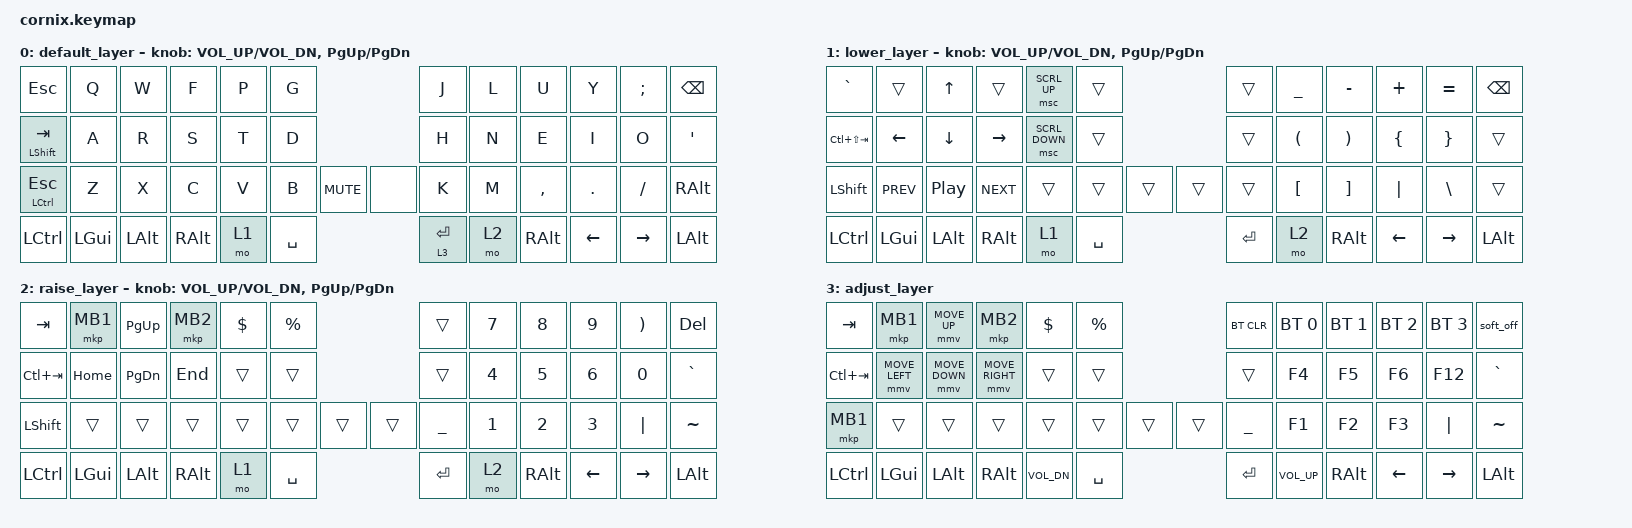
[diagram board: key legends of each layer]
/*
 * Copyright (c) 2020 The ZMK Contributors
 *
 * SPDX-License-Identifier: MIT
 */

#include "includes/cornix54.h"
#include <behaviors.dtsi>
#include <dt-bindings/zmk/bt.h>
#include <dt-bindings/zmk/keys.h>
#include <dt-bindings/zmk/pointing.h>


&mmv {
    acceleration-exponent = <1>;  // 1
    time-to-max-speed-ms = <500>; // 300
    delay-ms = <0>;
    trigger-period-ms = <8>;      // 16
};
&msc {
    acceleration-exponent = <1>;  // 0
    time-to-max-speed-ms = <40>;  // 300
    delay-ms = <0>;
    trigger-period-ms = <8>;      // 16
};

#define ZMK_POINTING_DEFAULT_MOVE_VAL 2500  // default: 600
#define ZMK_POINTING_DEFAULT_SCRL_VAL 50    // default: 10


/ {

    combos {
        compatible = "zmk,combos";
        homerow_rgui {
            timeout-ms = <50>;
            key-positions = <7 19>;
            bindings = <&kp LGUI>;
        };
        homerow_lgui {
            timeout-ms = <50>;
            key-positions = <4 16>;
            bindings = <&kp LGUI>;
        };

        homerow_rctrl {
            timeout-ms = <50>;
            key-positions = <8 20>;
            bindings = <&kp LCTRL>;
        };
        homerow_lctrl {
            timeout-ms = <50>;
            key-positions = <3 15>;
            bindings = <&kp LCTRL>;
        };

        homerow_ralt {
            timeout-ms = <50>;
            key-positions = <9 21>;
            bindings = <&kp LALT>;
        };
            timeout-ms = <50>;
            homerow_lalt {
            key-positions = <2 14>;
            bindings = <&kp LALT>;
        };

        homerow_rshft {
            timeout-ms = <50>;
            key-positions = <10 22>;
            bindings = <&kp LSHFT>;
        };
        homerow_lshft {
            timeout-ms = <50>;
            key-positions = <1 13>;
            bindings = <&kp LSHFT>;
        };

        homerow_esc {
            timeout-ms = <50>;
            key-positions = <0 12>;
            bindings = <&kp ESC>;
        };

        homerow_cut {
            timeout-ms = <50>;
            key-positions = <14 26>;
            bindings = <&kp LG(X)>;
        };

        homerow_copy {
            timeout-ms = <50>;
            key-positions = <15 27>;
            bindings = <&kp LG(C)>;
        };

        homerow_paste {
            timeout-ms = <50>;
            key-positions = <16 28>;
            bindings = <&kp LG(V)>;
        };
    };

    keymap {
        compatible = "zmk,keymap";

        default_layer {
            // ------------------------------------------------------------------------------------------------------------
            // |   `   |  1  |  2  |  3   |  4   |  5   |                   |  6   |  7    |  8    |  9   |   0   |       |
            // |  ESC  |  Q  |  W  |  E   |  R   |  T   |                   |  Y   |  U    |  I    |  O   |   P   | BKSPC |
            // |  TAB  |  A  |  S  |  D   |  F   |  G   |                   |  H   |  J    |  K    |  L   |   ;   |   '   |
            // | SHIFT |  Z  |  X  |  C   |  V   |  B   |  MUTE  |  |       |  N   |  M    |  ,    |  .   |   /   | SHIFT |
            //               | GUI | ALT  | CTRL | LOWER|  ENTER |  | SPACE | RAISE| CTRL  | ALT   | GUI  |

            bindings = <
            &kp ESC        &kp Q         &kp W       &kp F      &kp P    &kp G                 &kp J    &kp L     &kp U        &kp Y       &kp SEMI     &kp BSPC
            &mt LSHFT TAB  &kp A         &kp R       &kp S      &kp T    &kp D                 &kp H    &kp N     &kp E        &kp I       &kp O        &kp SQT
            &mt LCTRL ESC  &kp Z         &kp X       &kp C      &kp V    &kp B    &kp C_MUTE &none  &kp K    &kp M     &kp COMMA    &kp DOT     &kp FSLH     &kp RALT
            &kp LCTRL      &kp LGUI      &kp LALT    &kp RALT   &mo 1    &kp SPACE             &lt 3 RET &mo 2    &kp RALT     &kp LEFT    &kp RIGHT    &kp LALT
            >;
            sensor-bindings = <&inc_dec_kp C_VOL_UP C_VOL_DN &inc_dec_kp PG_UP PG_DN>;
        };

        lower_layer {
            // ------------------------------------------------------------------------------------------------------------
            // |   `   |  1  |  2  |  3   |  4   |  5   |                   |  6   |  7    |  8    |  9   |   0   |       |
            // |  ESC  |  Q  |  W  |  E   |  R   |  T   |                   |  Y   |  U    |  I    |  O   |   P   | BKSPC |
            // |  TAB  |  A  |  S  |  D   |  F   |  G   |                   |  H   |  J    |  K    |  L   |   ;   |   '   |
            // | SHIFT |  Z  |  X  |  C   |  V   |  B   |  MUTE  |  |       |  N   |  M    |  ,    |  .   |   /   | SHIFT |
            //               | GUI | ALT  | CTRL | LOWER|  ENTER |  | SPACE | RAISE| CTRL  | ALT   | GUI  |

            bindings = <
              &kp GRAVE        &trans       &kp UP           &trans      &msc SCRL_UP          &trans      &trans    &kp UNDER  &kp MINUS &kp PLUS  &kp EQUAL &kp BSPC
              &kp LC(LS(TAB))  &kp LEFT     &kp DOWN         &kp RIGHT   &msc SCRL_DOWN        &trans      &trans    &kp LPAR   &kp RPAR  &kp LBRC  &kp RBRC  &trans
              &kp LSHFT        &kp C_PREV   &kp C_PLAY_PAUSE &kp C_NEXT  &trans           &trans &trans              &trans      &trans    &kp LBKT   &kp RBKT  &kp PIPE  &kp BSLH  &trans
              &kp LCTRL        &kp LGUI     &kp LALT         &kp RALT    &mo 1  &kp SPACE      &kp RET     &mo 2     &kp RALT   &kp LEFT  &kp RIGHT &kp LALT
            >;
            sensor-bindings = <&inc_dec_kp C_VOL_UP C_VOL_DN &inc_dec_kp PG_UP PG_DN>;
        };

        raise_layer {

            // TODO: Some binds are waiting for shifted keycode support.
            // -------------------------------
            // |       |  F1 |  F2 |  F3  |  F4  |  F5  |                   |  F6  |  F7   |  F8   |  F9  |  F10  |  F11  |
            // |   `   |  1  |  2  |  3   |  4   |  5   |                   |  6   |  7    |  8    |  9   |   0   |  F12  |
            // |       |  !  |  @  |  #   |  $   |  %   |                   |  ^   |  &    |  *    |  (   |   )   |   |   |
            // |       |  =  |  -  |  +   |  {   |  }   |        |  |       |  [   |  ]    |  ;    |  :   |   \   |       |
            //               |     |      |      |      |        |  |       |      |       |       |      |

            bindings = <
              &kp TAB       &mkp MB1        &kp PG_UP   &mkp MB2    &kp DLLR  &kp PRCNT               &trans &kp N7  &kp N8  &kp N9  &kp RPAR  &kp DEL
              &kp LC(TAB)   &kp HOME        &kp PG_DN   &kp END     &trans    &trans                  &trans &kp N4  &kp N5  &kp N6  &kp N0     &kp GRAVE
              &kp LSHFT     &trans          &trans      &trans      &trans    &trans              &trans &trans             &kp UNDER &kp N1  &kp N2  &kp N3  &kp PIPE  &kp TILDE
              &kp LCTRL     &kp LGUI        &kp LALT    &kp RALT    &mo 1     &kp SPACE               &kp RET   &mo 2      &kp RALT  &kp LEFT  &kp RIGHT &kp LALT
            >;
            sensor-bindings = <&inc_dec_kp C_VOL_UP C_VOL_DN &inc_dec_kp PG_UP PG_DN>;
        };

          adjust_layer {
                        bindings = <
   &kp TAB      &mkp  MB1        &mmv MOVE_UP     &mkp MB2          &kp DLLR      &kp PRCNT                       &bt BT_CLR &bt BT_SEL 0  &bt BT_SEL 1  &bt BT_SEL 2  &bt BT_SEL 3  &soft_off
   &kp LC(TAB)  &mmv MOVE_LEFT   &mmv MOVE_DOWN   &mmv MOVE_RIGHT   &trans        &trans                          &trans &kp F4  &kp F5  &kp F6  &kp F12     &kp GRAVE
   &mkp MB1     &trans           &trans           &trans            &trans        &trans               &trans &trans                  &kp UNDER &kp F1  &kp F2  &kp F3  &kp PIPE  &kp TILDE
   &kp LCTRL    &kp LGUI         &kp LALT         &kp RALT          &kp C_VOL_DN  &kp SPACE     &kp RET      &kp C_VOL_UP      &kp RALT  &kp LEFT  &kp RIGHT &kp LALT
                        >;
        };
    };
};
